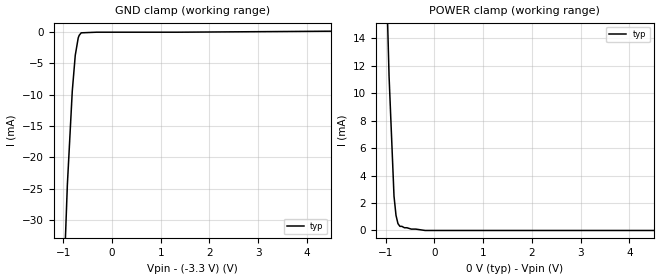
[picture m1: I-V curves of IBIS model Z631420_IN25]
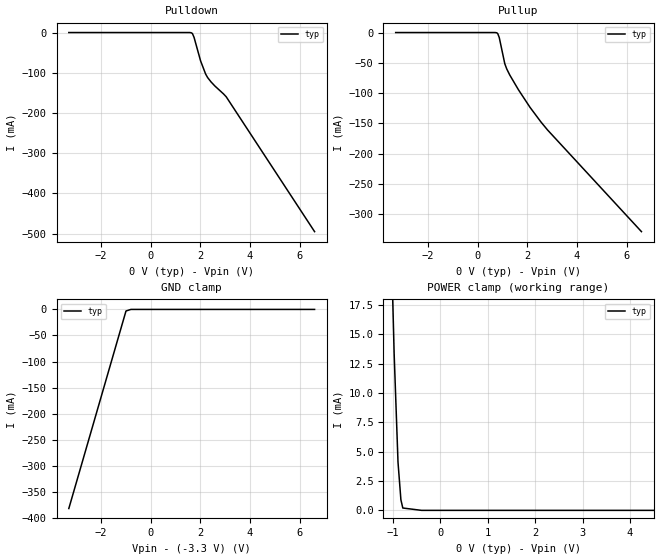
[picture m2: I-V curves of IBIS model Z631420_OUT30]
| YOU ARE ONLY AUTHORIZED TO USE THIS SOFTWARE
| ACCORDING TO LICENSOR'S LICENSE RESTRICTIONS.
[IBIS Ver] 3.1
[File Name] mc100ep445fa_-33.ibs
[File Rev] 1
[Source] Derived from MC10EP016FA_-33 Measured created
|   by ICX Technology
[Date] 2/20/2004
[Copyright]
| (C) COPYRIGHT 1993-2000
| MENTOR GRAPHICS CORPORATION
| ICX STANDARD LIBRARY, ICX PROJECT MODELING,
| ICX CUSTOM MODELING, ICX VENDOR MODEL
| ALL RIGHTS RESERVED.
| THE FOLLOWING ARE TRADEMARKS OR SERVICE MARKS OF
| MENTOR GRAPHICS CORPORATION:ICX (R), ICX STANDARD
| LIBRARY(R), ICX PROJECT MODELING(R), ICX CUSTOM
| MODELING(R), qualityIBIS(TM), MODELVIEWER(TM),
| AND MODELEDITOR(TM)
| ALL COPIES OF SOFTWARE, INCLUDING BUT NOT LIMITED TO
| ANY MODIFICATIONS, ENHANCEMENTS OR DERIVATIVE WORKS,
| MUST CONTAIN ALL MENTOR GRAPHICS CORPORATION'S
| NOTICES AND LEGENDS, INCLUDING THOSE EMBEDDED IN
| SOFTWARE AND THOSE AFFIXED TO SOFTWARE MEDIUM
| AND CONTAINER, AS RECEIVED FROM MENTOR GRAPHICS
| CORPORATION.
|  ZAP Model Builder 2.8
[Component] MC100EP445FA_-33
[Manufacturer] OnSemiconductor
[Package]
| variable   typ   min   max
R_pkg  .067ohms NA NA
L_pkg  4.211nH NA NA
C_pkg  1.002pF NA NA
[Pin] signal_name  model_name  R_pin  L_pin C_pin
1 RESET Z631420_IN25 .066 4.127n .978p
2 SYNC Z631420_IN25 .066 4.127n .978p
3 _CKEN Z631420_IN25 .066 4.127n .978p
4 CLK Z631420_IN25 .068 4.288n 1.027p
5 _CLK Z631420_IN25 .066 4.127n .978p
6 VBB1 POWER .065 3.973n .928p
7 CKSEL Z631420_IN25 .066 4.127n .978p
8 VCC POWER .065 3.973n .928p
9  Q7 Z631420_OUT30 .066 4.127n .978p
10 Q6 Z631420_OUT30 .066 4.127n .978p
11 Q5 Z631420_OUT30 .066 4.127n .978p
12 VCC POWER .065 3.973n .928p
13 VCC POWER .065 3.973n .928p
14 Q4 Z631420_OUT30 .066 4.127n .978p
15 Q3 Z631420_OUT30 .066 4.127n .978p
16 VEE POWER .065 3.973n .928p
17 VCC POWER .065 3.973n .928p
18 Q2 Z631420_OUT30 .066 4.127n .978p
19 Q1 Z631420_OUT30 .066 4.127n .978p
20 VCC POWER .065 3.973n .928p
21 Q0 Z631420_OUT30 .066 4.127n .978p
22 CL/8 Z631420_OUT30 .066 4.127n .978p
23 _CL/8 Z631420_OUT30 .066 4.127n .978p
24 VCC POWER .065 3.973n .928p
25 SINSEL Z631420_IN25 .066 4.127n .978p
26 SINB Z631420_IN25 .068 4.288n 1.027p
27 _SINB Z631420_IN25 .068 4.288n 1.027p
28 VEE POWER .065 3.973n .928p
29 VBB0 POWER .065 3.973n .928p
30 _SINA Z631420_IN25 .068 4.288n 1.027p
31 SINA Z631420_IN25 .068 4.288n 1.027p
32 VCC POWER .065 3.973n .928p
[Diff Pin] inv_pin vdiff tdelay_typ tdelay_min tdelay_max
4 5 800mv NA NA NA
22 23 NA NA NA NA
26 27 800mv NA NA NA
31 30 800mv NA NA NA
| Models and submodels in the file (2): Z631420_IN25 (Input_ECL), Z631420_OUT30 (Output_ECL)
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| (C) COPYRIGHT 1993-2000
| MENTOR GRAPHICS CORPORATION
| ICX STANDARD LIBRARY, ICX PROJECT MODELING,
| ICX CUSTOM MODELING, ICX VENDOR MODEL
| ALL RIGHTS RESERVED.
| THE FOLLOWING ARE TRADEMARKS OR SERVICE MARKS OF
| MENTOR GRAPHICS CORPORATION:ICX (R), ICX STANDARD
| LIBRARY(R), ICX PROJECT MODELING(R), ICX CUSTOM
| MODELING(R), qualityIBIS(TM), MODELVIEWER(TM),
| AND MODELEDITOR(TM)
| ALL COPIES OF SOFTWARE, INCLUDING BUT NOT LIMITED TO
| ANY MODIFICATIONS, ENHANCEMENTS OR DERIVATIVE WORKS,
| MUST CONTAIN ALL MENTOR GRAPHICS CORPORATION'S
| NOTICES AND LEGENDS, INCLUDING THOSE EMBEDDED IN
| SOFTWARE AND THOSE AFFIXED TO SOFTWARE MEDIUM
| AND CONTAINER, AS RECEIVED FROM MENTOR GRAPHICS
| CORPORATION.
| Model Application Version 1.89 2/18/99.
[Model] Z631420_IN25
Model_type Input_ECL
Vinl = -1.545V
Vinh = -1.145V
C_comp 2.000pF NA NA
| variable typ   min   max
[Voltage Range] -3.300V NA NA
[GND Clamp Reference] -3.300V NA NA
[POWER Clamp Reference] 0.000V NA NA
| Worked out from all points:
|   GND clamp passes 1 mA (typ) near -0.70 V on its own axis
|   POWER clamp passes 1 mA (typ) near -0.78 V on its own axis
[GND Clamp]
-3.3V     -645.2mA   NA         NA
-1.058V   -54.7mA    NA         NA
-916mV    -24.4mA    NA         NA
-815mV    -9.4mA     NA         NA
-754mV    -3.7mA     NA         NA
-693mV    -900uA     NA         NA
-673mV    -500uA     NA         NA
-632mV    -100uA     NA         NA
-316mV    0A         NA         NA
1.354V    0A         NA         NA
6.6V      269.6uA    NA         NA
[POWER Clamp]
-3.3V     392.3mA    NA         NA
-1.034V   24.4mA     NA         NA
-932mV    11.2mA     NA         NA
-831mV    2.5mA      NA         NA
-790mV    1.1mA      NA         NA
-750mV    500uA      NA         NA
-709.5mV  300uA      NA         NA
-476mV    100uA      NA         NA
-192.5mV  0A         NA         NA
6.6V      0A         NA         NA
| (C) COPYRIGHT 1993-2000
| MENTOR GRAPHICS CORPORATION
| ICX STANDARD LIBRARY, ICX PROJECT MODELING,
| ICX CUSTOM MODELING, ICX VENDOR MODEL
| ALL RIGHTS RESERVED.
| THE FOLLOWING ARE TRADEMARKS OR SERVICE MARKS OF
| MENTOR GRAPHICS CORPORATION:ICX (R), ICX STANDARD
| LIBRARY(R), ICX PROJECT MODELING(R), ICX CUSTOM
| MODELING(R), qualityIBIS(TM), MODELVIEWER(TM),
| AND MODELEDITOR(TM)
| ALL COPIES OF SOFTWARE, INCLUDING BUT NOT LIMITED TO
| ANY MODIFICATIONS, ENHANCEMENTS OR DERIVATIVE WORKS,
| MUST CONTAIN ALL MENTOR GRAPHICS CORPORATION'S
| NOTICES AND LEGENDS, INCLUDING THOSE EMBEDDED IN
| SOFTWARE AND THOSE AFFIXED TO SOFTWARE MEDIUM
| AND CONTAINER, AS RECEIVED FROM MENTOR GRAPHICS
| CORPORATION.
| Model Application Version 1.89 2/18/99.
[Model] Z631420_OUT30
Model_type Output_ECL
Vref=-2.000V
Rref=50.00ohms
Cref=0.000F
Vmeas=-1.345V
C_comp 2.000pF NA NA
| variable typ   min   max
[Voltage Range] -3.300V NA NA
[POWER Clamp Reference] 0.000V NA NA
[Pullup Reference] 0.000V NA NA
[Pulldown Reference] 0.000V NA NA
[GND Clamp Reference] -3.300V NA NA
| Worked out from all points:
|   GND clamp passes 1 mA (typ) near -0.86 V on its own axis
|   POWER clamp passes 1 mA (typ) near -0.83 V on its own axis
[GND Clamp]
-3.3V     -381.8mA   NA         NA
-997mV    -3.038mA   NA         NA
-797.6mV  0A         NA         NA
6.6V      0A         NA         NA
[Pulldown]
-3.3V     0A         NA         NA
1.642V    -800uA     NA         NA
1.682V    -2.9mA     NA         NA
1.743V    -11.6mA    NA         NA
2.007V    -70.3mA    NA         NA
2.209V    -102.9mA   NA         NA
2.29V     -111.8mA   NA         NA
2.594V    -133.5mA   NA         NA
3.041V    -159.8mA   NA         NA
6.6V      -494.9mA   NA         NA
[Pullup]
-3.3V     0A         NA         NA
771mV     -400uA     NA         NA
811mV     -1.8mA     NA         NA
872mV     -8.3mA     NA         NA
1.095V    -51.5mA    NA         NA
1.175V    -60.2mA    NA         NA
1.297V    -70.2mA    NA         NA
1.642V    -94.2mA    NA         NA
2.108V    -123.2mA   NA         NA
2.817V    -160.7mA   NA         NA
6.6V      -328.4mA   NA         NA
[POWER Clamp]
-3.3V     446.4mA    NA         NA
-1.054V   25.7mA     NA         NA
-973mV    13.3mA     NA         NA
-892mV    4.1mA      NA         NA
-831mV    900uA      NA         NA
-791mV    200uA      NA         NA
-395.5mV  0A         NA         NA
6.6V      0A         NA         NA
[Ramp]
| variable typ min max
dV/dt_r 458.7m/144.6p NA NA
dV/dt_f 458.7m/136.0p NA NA
R_load = 50.00Ohms
